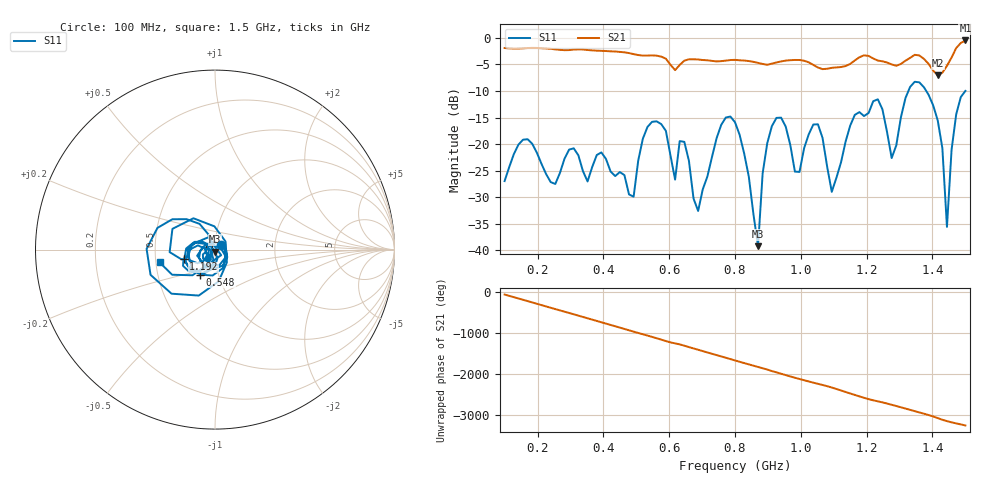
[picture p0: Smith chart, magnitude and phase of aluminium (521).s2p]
! NanoVNA-App
! Date: 2025-09-25 14:59:20
! Start: 100MHz Stop: 1,5GHz Points: 101
! S-Parameter data: F S11 S21 S12 S22
# Hz S RI R 50
!  Frequency  S11_Real  S11_Imag  S21_Real  S21_Imag  S12_Real  S12_Imag  S22_Real  S22_Imag
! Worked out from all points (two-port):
!   101 points, 100 MHz to 1.5 GHz, reference 50 ohm
!   highest |S21| = -0.50 dB at 1.5 GHz (marker M1); lowest = -7.1 dB at 1.416 GHz (marker M2)
!   |S21| within 3 dB of the highest: start of sweep to 572.7 MHz; 1.46 GHz to end of sweep (the widest 2 of 4)
!   lowest |S11| = -39.2 dB at 870 MHz (marker M3), VSWR 1.02, Z = 50.1 - j1.09 ohm
!   |S11| at or under -10 dB: start of sweep to 1.327 GHz; 1.381 GHz to 1.5 GHz (118.9 MHz wide, 8.25 % of centre)
!   S12 and S22 are empty: the file has one direction only
!   S11 on the Smith chart (normalised r, x): 100 MHz: 1.07, +0.06; 548 MHz: 0.82, -0.24; 1.192 GHz: 0.70, -0.08; 1.5 GHz: 0.52, -0.08
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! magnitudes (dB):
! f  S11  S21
! 100 MHz  -27.0  -1.9
! 156 MHz  -19.2  -2.0
! 338 MHz  -25.1  -2.2
! 492 MHz  -29.9  -3.1
! 548 MHz  -15.8  -3.3
! 576 MHz  -16.2  -3.5
! 646 MHz  -19.6  -4.3
! 688 MHz  -32.6  -4.1
! 800 MHz  -15.9  -4.1
! 870 MHz  -39.2  -4.7
! 912 MHz  -16.6  -4.9
! 996 MHz  -25.2  -4.2
! 1.038 GHz  -16.3  -5.1
! 1.094 GHz  -29.0  -5.7
! 1.192 GHz  -14.7  -3.3
! 1.234 GHz  -11.6  -4.3
! 1.276 GHz  -22.6  -5.0
! 1.346 GHz  -8.3  -3.2
! 1.416 GHz  -15.6  -7.1
! 1.444 GHz  -35.6  -5.3
! 1.472 GHz  -14.4  -1.9
! 1.5 GHz  -10.0  -0.5
